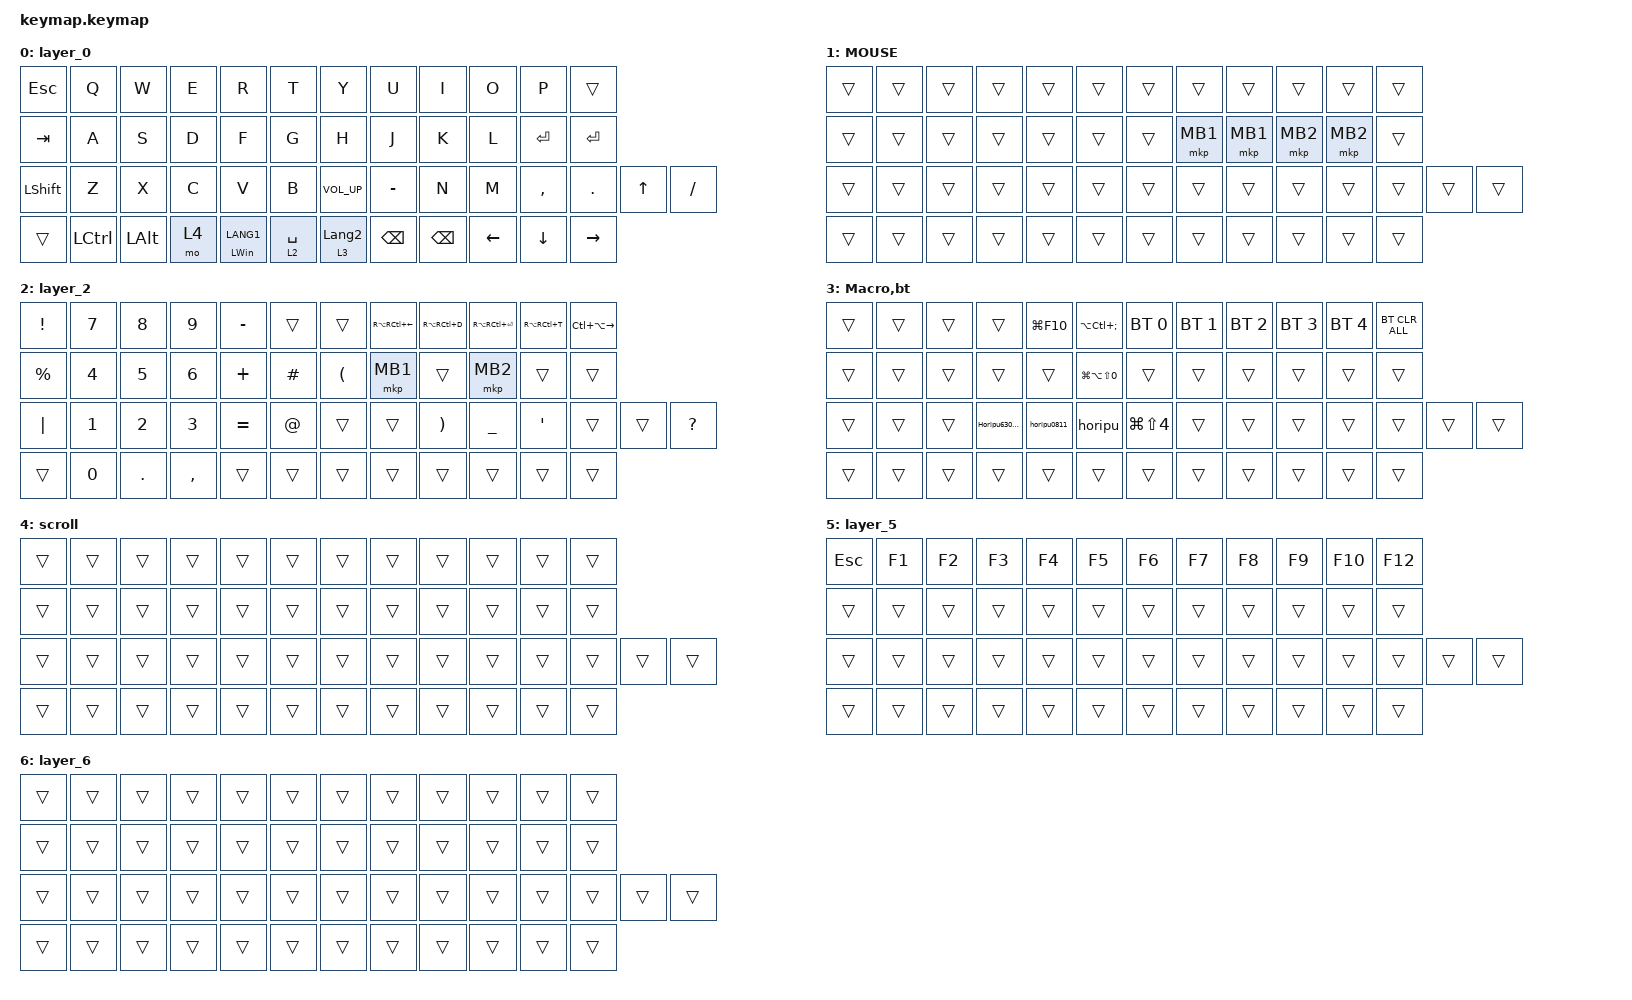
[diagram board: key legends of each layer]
#include <behaviors.dtsi>
#include <dt-bindings/zmk/bt.h>
#include <dt-bindings/zmk/keys.h>
#include <dt-bindings/zmk/pointing.h>

/ {
    combos {
        compatible = "zmk,combos";

        tab {
            bindings = <&kp TAB>;
            key-positions = <12 13>;
        };

        lang1 {
            bindings = <&kp LANGUAGE_1>;
            key-positions = <14 15>;
        };

        lang2 {
            bindings = <&kp LANGUAGE_2>;
            key-positions = <20 21>;
        };
    };

    macros {
        horipu: horipu {
            compatible = "zmk,behavior-macro";
            #binding-cells = <0>;
            bindings = <&none &kp H &kp O &kp R &kp I &kp P &kp U &kp RET>;
            label = "HORIPU";
        };

        horipu0811: horipu0811 {
            compatible = "zmk,behavior-macro";
            #binding-cells = <0>;
            bindings = <&none &kp LS(H) &kp O &kp R &kp I &kp P &kp U &kp N0 &kp N8 &kp N1 &kp N1>;
            label = "HORIPU0811";
        };

        Horipu630811: Horipu630811 {
            compatible = "zmk,behavior-macro";
            #binding-cells = <0>;
            bindings = <&none &kp LS(H) &kp O &kp R &kp I &kp P &kp U &kp N6 &kp N3 &kp N0 &kp N8 &kp N1 &kp N1>;
            label = "HORIPU630811";
        };
    };

    keymap {
        compatible = "zmk,keymap";

        layer_0 {
            bindings = <
&kp ESC         &kp Q      &kp W         &kp E  &kp R               &kp T        &kp Y             &kp U          &kp I          &kp O           &kp P           &trans
&kp TAB         &kp A      &kp S         &kp D  &kp F               &kp G        &kp H             &kp J          &kp K          &kp L           &kp ENTER       &kp ENTER
&kp LEFT_SHIFT  &kp Z      &kp X         &kp C  &kp V               &kp B        &kp C_VOLUME_UP   &kp MINUS      &kp N          &kp M           &kp COMMA       &kp PERIOD       &kp UP_ARROW  &kp SLASH
&trans          &kp LCTRL  &kp LEFT_ALT  &mo 4  &mt LEFT_WIN LANG1  &lt 2 SPACE  &lt 3 LANGUAGE_2  &kp BACKSPACE  &kp BACKSPACE  &kp LEFT_ARROW  &kp DOWN_ARROW  &kp RIGHT_ARROW
            >;
        };

        MOUSE {
            bindings = <
&trans  &trans  &trans  &trans  &trans  &trans  &trans  &trans    &trans    &trans    &trans    &trans
&trans  &trans  &trans  &trans  &trans  &trans  &trans  &mkp MB1  &mkp MB1  &mkp MB2  &mkp MB2  &trans
&trans  &trans  &trans  &trans  &trans  &trans  &trans  &trans    &trans    &trans    &trans    &trans  &trans  &trans
&trans  &trans  &trans  &trans  &trans  &trans  &trans  &trans    &trans    &trans    &trans    &trans
            >;
        };

        layer_2 {
            bindings = <
&kp EXCLAMATION  &kp N7        &kp N8        &kp N9        &kp MINUS  &trans    &trans                &kp RA(RC(LEFT_ARROW))  &kp RA(RC(D))          &kp RA(RC(ENTER))  &kp RA(RC(T))  &kp LC(LA(RIGHT_ARROW))
&kp PERCENT      &kp NUMBER_4  &kp N5        &kp NUMBER_6  &kp PLUS   &kp HASH  &kp LEFT_PARENTHESIS  &mkp MB1                &trans                 &mkp MB2           &trans         &trans
&kp PIPE         &kp NUMBER_1  &kp NUMBER_2  &kp NUMBER_3  &kp EQUAL  &kp AT    &trans                &trans                  &kp RIGHT_PARENTHESIS  &kp UNDER          &kp APOS       &trans                   &trans  &kp QUESTION
&trans           &kp N0        &kp PERIOD    &kp COMMA     &trans     &trans    &trans                &trans                  &trans                 &trans             &trans         &trans
            >;
        };

        Macro,bt {
            bindings = <
&trans  &trans  &trans  &trans         &kp LG(F10)  &kp LA(LC(SEMI))    &bt BT_SEL 0          &bt BT_SEL 1  &bt BT_SEL 2  &bt BT_SEL 3  &bt BT_SEL 4  &bt BT_CLR_ALL
&trans  &trans  &trans  &trans         &trans       &kp LG(LA(LS(N0)))  &trans                &trans        &trans        &trans        &trans        &trans
&trans  &trans  &trans  &Horipu630811  &horipu0811  &horipu             &kp LG(LS(NUMBER_4))  &trans        &trans        &trans        &trans        &trans          &trans  &trans
&trans  &trans  &trans  &trans         &trans       &trans              &trans                &trans        &trans        &trans        &trans        &trans
            >;
        };

        scroll {
            bindings = <
&trans  &trans  &trans  &trans  &trans  &trans  &trans  &trans  &trans  &trans  &trans  &trans
&trans  &trans  &trans  &trans  &trans  &trans  &trans  &trans  &trans  &trans  &trans  &trans
&trans  &trans  &trans  &trans  &trans  &trans  &trans  &trans  &trans  &trans  &trans  &trans  &trans  &trans
&trans  &trans  &trans  &trans  &trans  &trans  &trans  &trans  &trans  &trans  &trans  &trans
            >;
        };

        layer_5 {
            bindings = <
&kp ESC  &kp F1  &kp F2  &kp F3  &kp F4  &kp F5  &kp F6  &kp F7  &kp F8  &kp F9  &kp F10  &kp F12
&trans   &trans  &trans  &trans  &trans  &trans  &trans  &trans  &trans  &trans  &trans   &trans
&trans   &trans  &trans  &trans  &trans  &trans  &trans  &trans  &trans  &trans  &trans   &trans   &trans  &trans
&trans   &trans  &trans  &trans  &trans  &trans  &trans  &trans  &trans  &trans  &trans   &trans
            >;
        };

        layer_6 {
            bindings = <
&trans  &trans  &trans  &trans  &trans  &trans  &trans  &trans  &trans  &trans  &trans  &trans
&trans  &trans  &trans  &trans  &trans  &trans  &trans  &trans  &trans  &trans  &trans  &trans
&trans  &trans  &trans  &trans  &trans  &trans  &trans  &trans  &trans  &trans  &trans  &trans  &trans  &trans
&trans  &trans  &trans  &trans  &trans  &trans  &trans  &trans  &trans  &trans  &trans  &trans
            >;
        };
    };
};
